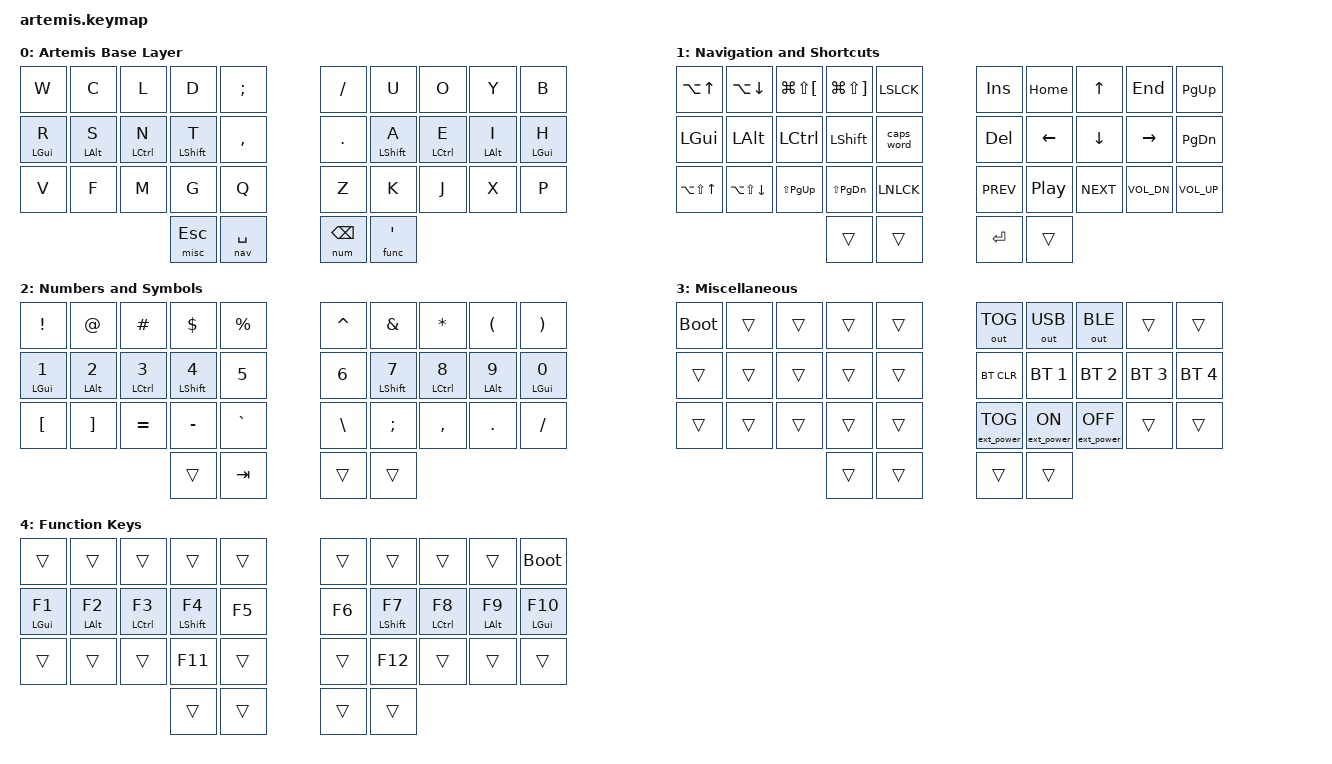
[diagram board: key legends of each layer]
/*
 * Copyright (c) 2020 The ZMK Contributors
 *
 * SPDX-License-Identifier: MIT
 */

#include <behaviors.dtsi>
#include <dt-bindings/zmk/keys.h>
#include <dt-bindings/zmk/bt.h>
#include <dt-bindings/zmk/ext_power.h>
#include <dt-bindings/zmk/outputs.h>

#define base 0
#define nav  1
#define num  2
#define misc 3
#define func 4

&caps_word {
    continue-list = <UNDERSCORE MINUS>;
};

&lt {
    tapping-term-ms = <250>;
    quick_tap_ms = <250>;
    flavor = "tap-preferred";
};

/ {
    behaviors {
        hm: homerow_mods {
            compatible = "zmk,behavior-hold-tap";
            label = "HOMEROW_MODS";
            #binding-cells = <2>;
            tapping-term-ms = <250>;
            quick_tap_ms = <250>;
            flavor = "tap-preferred";
            bindings = <&kp>, <&kp>;
        };
    };

    keymap {
        compatible = "zmk,keymap";

        base_layer {
            label = "Artemis Base Layer";
            bindings = <
                &kp W      &kp C      &kp L      &kp D        &kp SEMI           &kp FSLH     &kp U       &kp O      &kp Y      &kp B
                &hm LGUI R &hm LALT S &hm LCTL N &hm LSHFT T  &kp COMMA          &kp DOT      &hm LSHFT A &hm LCTL E &hm LALT I &hm LGUI H
                &kp V      &kp F      &kp M      &kp G        &kp Q              &kp Z        &kp K       &kp J      &kp X      &kp P
                                                 &lt misc ESC &lt nav SPACE      &lt num BSPC &lt func SQT
            >;
        };

        nav_layer {
            label = "Navigation and Shortcuts";
            bindings = <
               &kp LA(UP)     &kp LA(DOWN)     &kp LG(LS(LBKT)) &kp LG(LS(RBKT)) &kp LSLCK      &kp INS    &kp HOME         &kp UP     &kp END      &kp PG_UP
               &kp LGUI       &kp LALT         &kp LCTL         &kp LSHIFT       &caps_word     &kp DEL    &kp LEFT         &kp DOWN   &kp RIGHT    &kp PG_DN
               &kp LA(LS(UP)) &kp LA(LS(DOWN)) &kp LS(PG_UP)    &kp LS(PG_DN)    &kp LNLCK      &kp C_PREV &kp C_PLAY_PAUSE &kp C_NEXT &kp C_VOL_DN &kp C_VOL_UP
                                                                &trans           &trans         &kp RET    &trans
            >;
        };

        num_layer {
            label = "Numbers and Symbols";
            bindings = <
               &kp EXCL    &kp AT      &kp HASH    &kp DLLR     &kp PRCNT      &kp CARET &kp AMPS     &kp ASTRK   &kp LPAR    &kp RPAR
               &hm LGUI N1 &hm LALT N2 &hm LCTL N3 &hm LSHFT N4 &kp N5         &kp N6    &hm LSHFT N7 &hm LCTL N8 &hm LALT N9 &hm LGUI N0
               &kp LBKT    &kp RBKT    &kp EQUAL   &kp MINUS    &kp GRAVE      &kp BSLH  &kp SEMI     &kp COMMA   &kp DOT     &kp FSLH
                                                   &trans       &kp TAB        &trans    &trans
            >;
        };

        misc_layer {
            label = "Miscellaneous";
            bindings = <
                &bootloader &trans &trans &trans &trans        &out OUT_TOG      &out OUT_USB     &out OUT_BLE      &trans       &trans
                &trans      &trans &trans &trans &trans        &bt BT_CLR        &bt BT_SEL 1     &bt BT_SEL 2      &bt BT_SEL 3 &bt BT_SEL 4
                &trans      &trans &trans &trans &trans        &ext_power EP_TOG &ext_power EP_ON &ext_power EP_OFF &trans       &trans
                                          &trans &trans        &trans            &trans
            >;
        };

       func_layer {
            label = "Function Keys";

            bindings = <
               &trans      &trans      &trans      &trans       &trans      &trans &trans       &trans      &trans      &bootloader
               &hm LGUI F1 &hm LALT F2 &hm LCTL F3 &hm LSHFT F4 &kp F5      &kp F6 &hm LSHFT F7 &hm LCTL F8 &hm LALT F9 &hm LGUI F10
               &trans      &trans      &trans      &kp F11      &trans      &trans &kp F12      &trans      &trans      &trans
                                                   &trans       &trans      &trans &trans
            >;
        };
    };
};
